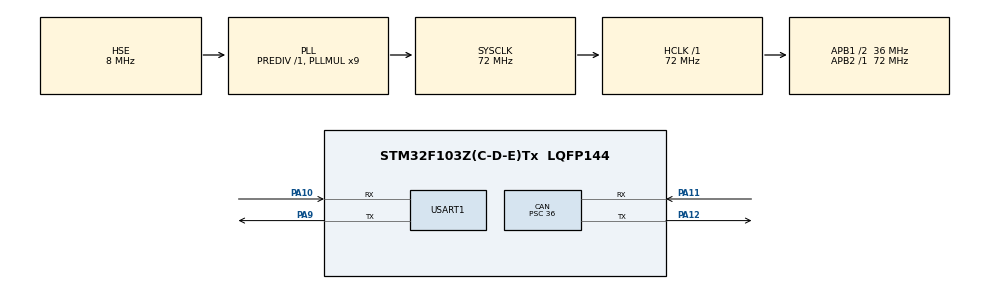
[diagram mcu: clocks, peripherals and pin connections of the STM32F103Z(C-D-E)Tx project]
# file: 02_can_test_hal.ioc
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CAN.ABOM=ENABLE
CAN.AWUM=ENABLE
CAN.BS1=CAN_BS1_8TQ
CAN.CalculateBaudRate=100000
CAN.CalculateTimeBit=10000
CAN.CalculateTimeQuantum=1000.0
CAN.Mode=CAN_MODE_SILENT_LOOPBACK
CAN.NART=ENABLE
CAN.Prescaler=36
CAN.RFLM=ENABLE
CAN.SJW=CAN_SJW_2TQ
Mcu.Family=STM32F1
Mcu.Name=STM32F103Z(C-D-E)Tx
Mcu.Package=LQFP144
NVIC.PriorityGroup=NVIC_PRIORITYGROUP_4
OSC_IN.Mode=HSE-External-Oscillator
OSC_IN.Signal=RCC_OSC_IN
OSC_OUT.Mode=HSE-External-Oscillator
OSC_OUT.Signal=RCC_OSC_OUT
PA10.Mode=Asynchronous
PA10.Signal=USART1_RX
PA11.Mode=CAN_Activate
PA11.Signal=CAN_RX
PA12.Mode=CAN_Activate
PA12.Signal=CAN_TX
PA13.Mode=Serial_Wire
PA13.Signal=SYS_JTMS-SWDIO
PA14.Mode=Serial_Wire
PA14.Signal=SYS_JTCK-SWCLK
PA9.Mode=Asynchronous
PA9.Signal=USART1_TX
PC14-OSC32_IN.Mode=LSE-External-Oscillator
PC14-OSC32_IN.Signal=RCC_OSC32_IN
PC15-OSC32_OUT.Mode=LSE-External-Oscillator
PC15-OSC32_OUT.Signal=RCC_OSC32_OUT
ProjectManager.HeapSize=0x200
ProjectManager.StackSize=0x400
ProjectManager.TargetToolchain=MDK-ARM V5.32
RCC.AHBFreq_Value=72000000
RCC.APB1CLKDivider=RCC_HCLK_DIV2
RCC.APB1Freq_Value=36000000
RCC.APB1TimFreq_Value=72000000
RCC.APB2Freq_Value=72000000
RCC.APB2TimFreq_Value=72000000
RCC.HCLKFreq_Value=72000000
RCC.PLLMUL=RCC_PLL_MUL9
RCC.PLLSourceVirtual=RCC_PLLSOURCE_HSE
RCC.SYSCLKFreq_VALUE=72000000
RCC.SYSCLKSource=RCC_SYSCLKSOURCE_PLLCLK
RCC.USBFreq_Value=72000000
USART1.VirtualMode=VM_ASYNC
board=custom

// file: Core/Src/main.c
/* USER CODE BEGIN Header */
/**
  ******************************************************************************
  * @file           : main.c
  * @brief          : Main program body
  ******************************************************************************
  * @attention
  *
  * Copyright (c) 2026 STMicroelectronics.
  * All rights reserved.
  *
  * This software is licensed under terms that can be found in the LICENSE file
  * in the root directory of this software component.
  * If no LICENSE file comes with this software, it is provided AS-IS.
  *
  ******************************************************************************
  */
/* USER CODE END Header */
#include "main.h"
#include "can.h"
#include "usart.h"
#include "gpio.h"

/* USER CODE BEGIN Includes */
#include <stdio.h>
/* USER CODE END Includes */

/* USER CODE BEGIN PV */
uint8_t tx_data[8];
RxMsg  rx_msg[8];
uint8_t rx_cnt = 0;
uint8_t loop_cnt = 0;
/* USER CODE END PV */

void SystemClock_Config(void);

int main(void)
{

  /* MCU Configuration--------------------------------------------------------*/

  /* Reset of all peripherals, Initializes the Flash interface and the Systick. */
  HAL_Init();

  /* Configure the system clock */
  SystemClock_Config();

  /* Initialize all configured peripherals */
  MX_GPIO_Init();
  MX_CAN_Init();
  MX_USART1_UART_Init();
  /* USER CODE BEGIN 2 */

  printf("\r\n========== CAN 回环测试 ==========\r\n");
  printf("模式: 静默回环, 波特率 100kbps\r\n\r\n");

  FilterConfig();

  if (HAL_CAN_Start(&hcan) != HAL_OK)
  {
    printf("CAN 启动失败!\r\n");
    Error_Handler();
  }
  printf("CAN 启动成功\r\n\r\n");

  /* USER CODE END 2 */

  /* Infinite loop */
  while (1)
  {

    /* USER CODE BEGIN 3 */

    /* 1. 准备要发送的数据 */
    for (uint8_t i = 0; i < 8; i++)
    {
      tx_data[i] = loop_cnt + i;
    }

    /* 2. 发送标准数据帧, ID=0x321, 长度 8 */
    printf("TX[%d] ID=0x%03X len=8 data:", loop_cnt, 0x321);
    for (uint8_t i = 0; i < 8; i++)
    {
      printf(" %02X", tx_data[i]);
    }
    printf("\r\n");
    SendMsg(0x321, tx_data, 8);

    /* 3. 等待回环报文进入 FIFO0 */
    uint32_t tick = HAL_GetTick();
    while (HAL_CAN_GetRxFifoFillLevel(&hcan, CAN_RX_FIFO0) == 0)
    {
      if ((HAL_GetTick() - tick) > 100)
      {
        break;
      }
    }

    /* 4. 接收并打印 */
    RxMsg1(rx_msg, &rx_cnt);
    for (uint8_t i = 0; i < rx_cnt; i++)
    {
      printf("RX[%d] ID=0x%03X len=%d data:", loop_cnt, rx_msg[i].stdid, rx_msg[i].len);
      for (uint8_t j = 0; j < rx_msg[i].len; j++)
      {
        printf(" %02X", rx_msg[i].data[j]);
      }
      printf("\r\n");
    }

    printf("\r\n");
    loop_cnt++;
    HAL_Delay(1000);

  }
  /* USER CODE END 3 */
}

void SystemClock_Config(void)
{
  RCC_OscInitTypeDef RCC_OscInitStruct = {0};
  RCC_ClkInitTypeDef RCC_ClkInitStruct = {0};

  /** Initializes the RCC Oscillators according to the specified parameters
  * in the RCC_OscInitTypeDef structure.
  */
  RCC_OscInitStruct.OscillatorType = RCC_OSCILLATORTYPE_HSE;
  RCC_OscInitStruct.HSEState = RCC_HSE_ON;
  RCC_OscInitStruct.HSEPredivValue = RCC_HSE_PREDIV_DIV1;
  RCC_OscInitStruct.HSIState = RCC_HSI_ON;
  RCC_OscInitStruct.PLL.PLLState = RCC_PLL_ON;
  RCC_OscInitStruct.PLL.PLLSource = RCC_PLLSOURCE_HSE;
  RCC_OscInitStruct.PLL.PLLMUL = RCC_PLL_MUL9;
  if (HAL_RCC_OscConfig(&RCC_OscInitStruct) != HAL_OK)
  {
    Error_Handler();
  }

  /** Initializes the CPU, AHB and APB buses clocks
  */
  RCC_ClkInitStruct.ClockType = RCC_CLOCKTYPE_HCLK|RCC_CLOCKTYPE_SYSCLK
                              |RCC_CLOCKTYPE_PCLK1|RCC_CLOCKTYPE_PCLK2;
  RCC_ClkInitStruct.SYSCLKSource = RCC_SYSCLKSOURCE_PLLCLK;
  RCC_ClkInitStruct.AHBCLKDivider = RCC_SYSCLK_DIV1;
  RCC_ClkInitStruct.APB1CLKDivider = RCC_HCLK_DIV2;
  RCC_ClkInitStruct.APB2CLKDivider = RCC_HCLK_DIV1;

  if (HAL_RCC_ClockConfig(&RCC_ClkInitStruct, FLASH_LATENCY_2) != HAL_OK)
  {
    Error_Handler();
  }
}

void Error_Handler(void)
{
  __disable_irq();
  while (1)
  {
  }
}
